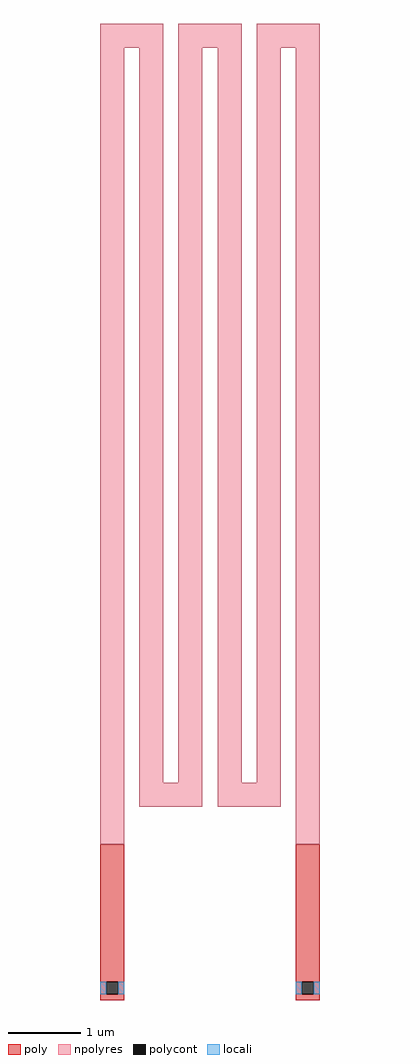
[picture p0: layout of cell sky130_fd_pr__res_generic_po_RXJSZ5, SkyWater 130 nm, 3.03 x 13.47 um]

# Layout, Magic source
magic
tech sky130A
magscale 1 2
<< poly >>
rect -303 -1297 -237 -917
rect -303 -1331 -287 -1297
rect -253 -1331 -237 -1297
rect -303 -1347 -237 -1331
rect 237 -1297 303 -917
rect 237 -1331 253 -1297
rect 287 -1331 303 -1297
rect 237 -1347 303 -1331
<< polycont >>
rect -287 -1331 -253 -1297
rect 253 -1331 287 -1297
<< npolyres >>
rect -303 1281 -129 1347
rect -303 -917 -237 1281
rect -195 -747 -129 1281
rect -87 1281 87 1347
rect -87 -747 -21 1281
rect -195 -813 -21 -747
rect 21 -747 87 1281
rect 129 1281 303 1347
rect 129 -747 195 1281
rect 21 -813 195 -747
rect 237 -917 303 1281
<< locali >>
rect -303 -1331 -287 -1297
rect -253 -1331 -237 -1297
rect 237 -1331 253 -1297
rect 287 -1331 303 -1297
<< properties >>
string gencell sky130_fd_pr__res_generic_po
string library sky130
string parameters w 0.33 l 10.8 m 1 nx 6 wmin 0.330 lmin 1.650 rho 48.2 val 9.997k dummy 0 dw 0.0 term 0.0 sterm 0.0 caplen 0.4 snake 1 guard 0 glc 1 grc 1 gtc 1 gbc 1 roverlap 0 endcov 100 full_metal 1 hv_guard 0 n_guard 0 vias 1 viagb 0 viagt 0 viagl 0 viagr 0
<< end >>
